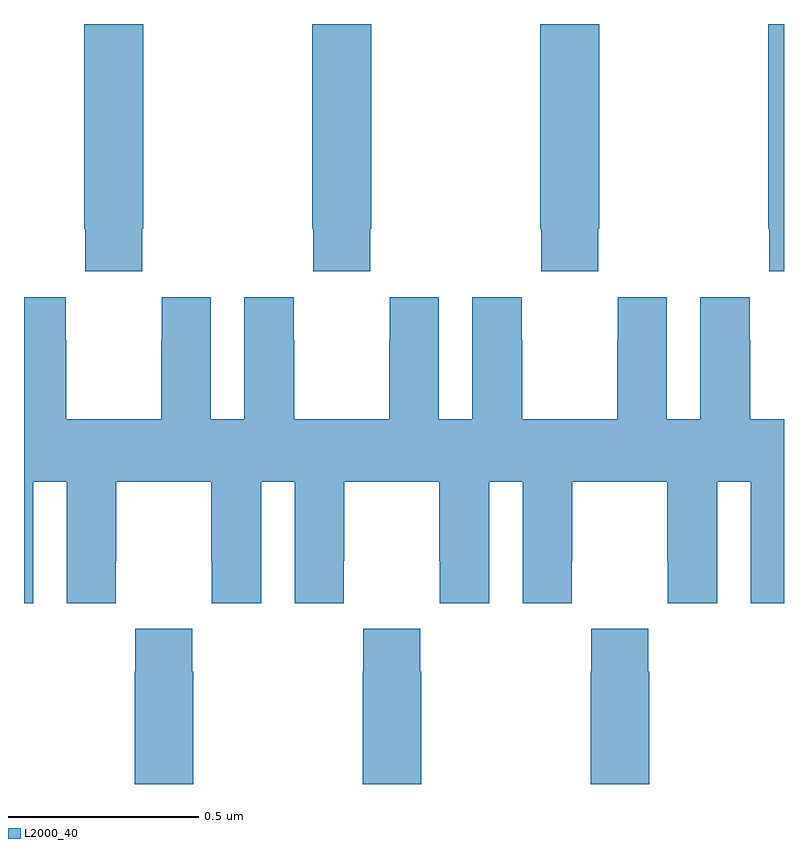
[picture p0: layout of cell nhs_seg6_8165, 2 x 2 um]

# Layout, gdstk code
import gdstk
lib = gdstk.Library(unit=1e-6, precision=1e-09)
def P(c, l, *ps):  # polygons
    for p in ps: c.add(gdstk.Polygon(p, *l))
L2000_40 = (2000, 40)

nhs_seg6_8165 = lib.new_cell('nhs_seg6_8165')
P(nhs_seg6_8165, L2000_40, [(219,988.5),(218.959,988.5),(218.959,987.961),(218.961,987.961),(218.961,987.849),(219,987.849)],
  [(218.511,987.961),(218.514,987.961),(218.514,988.5),(218.359,988.5),(218.359,987.961),(218.361,987.961),(218.361,987.849),(218.511,987.849)],
  [(217.311,987.961),(217.314,987.961),(217.314,988.5),(217.159,988.5),(217.159,987.961),(217.161,987.961),(217.161,987.849),(217.311,987.849)],
  [(217.911,987.961),(217.914,987.961),(217.914,988.5),(217.759,988.5),(217.759,987.961),(217.761,987.961),(217.761,987.849),(217.911,987.849)],
  [(217.024,987.296),(217.112,987.296),(217.112,986.976),(217.242,986.976),(217.242,987.088),(217.243,987.088),(217.243,987.296),(217.493,987.296),(217.493,987.088),(217.494,987.088),(217.494,986.976),(217.624,986.976),(217.624,987.296),(217.712,987.296),(217.712,986.976),(217.842,986.976),(217.842,987.088),(217.843,987.088),(217.843,987.296),(218.093,987.296),(218.093,987.088),(218.094,987.088),(218.094,986.976),(218.224,986.976),(218.224,987.296),(218.312,987.296),(218.312,986.976),(218.442,986.976),(218.442,987.088),(218.443,987.088),(218.443,987.296),(218.693,987.296),(218.693,987.088),(218.694,987.088),(218.694,986.976),(218.824,986.976),(218.824,987.296),(218.912,987.296),(218.912,986.976),(219,986.976),(219,987.46),(218.911,987.46),(218.911,987.668),(218.91,987.668),(218.91,987.781),(218.78,987.781),(218.78,987.46),(218.692,987.46),(218.692,987.781),(218.562,987.781),(218.562,987.668),(218.561,987.668),(218.561,987.46),(218.311,987.46),(218.311,987.668),(218.31,987.668),(218.31,987.781),(218.18,987.781),(218.18,987.46),(218.092,987.46),(218.092,987.781),(217.962,987.781),(217.962,987.668),(217.961,987.668),(217.961,987.46),(217.711,987.46),(217.711,987.668),(217.71,987.668),(217.71,987.781),(217.58,987.781),(217.58,987.46),(217.492,987.46),(217.492,987.781),(217.362,987.781),(217.362,987.668),(217.361,987.668),(217.361,987.46),(217.111,987.46),(217.111,987.668),(217.11,987.668),(217.11,987.781),(217,987.781),(217,986.976),(217.024,986.976)],
  [(218.646,986.795),(218.643,986.795),(218.643,986.908),(218.493,986.908),(218.493,986.795),(218.491,986.795),(218.491,986.5),(218.646,986.5)],
  [(217.446,986.795),(217.443,986.795),(217.443,986.908),(217.293,986.908),(217.293,986.795),(217.291,986.795),(217.291,986.5),(217.446,986.5)],
  [(218.046,986.795),(218.043,986.795),(218.043,986.908),(217.893,986.908),(217.893,986.795),(217.891,986.795),(217.891,986.5),(218.046,986.5)])

lib.write_gds('nhs_seg6_8165.gds')
